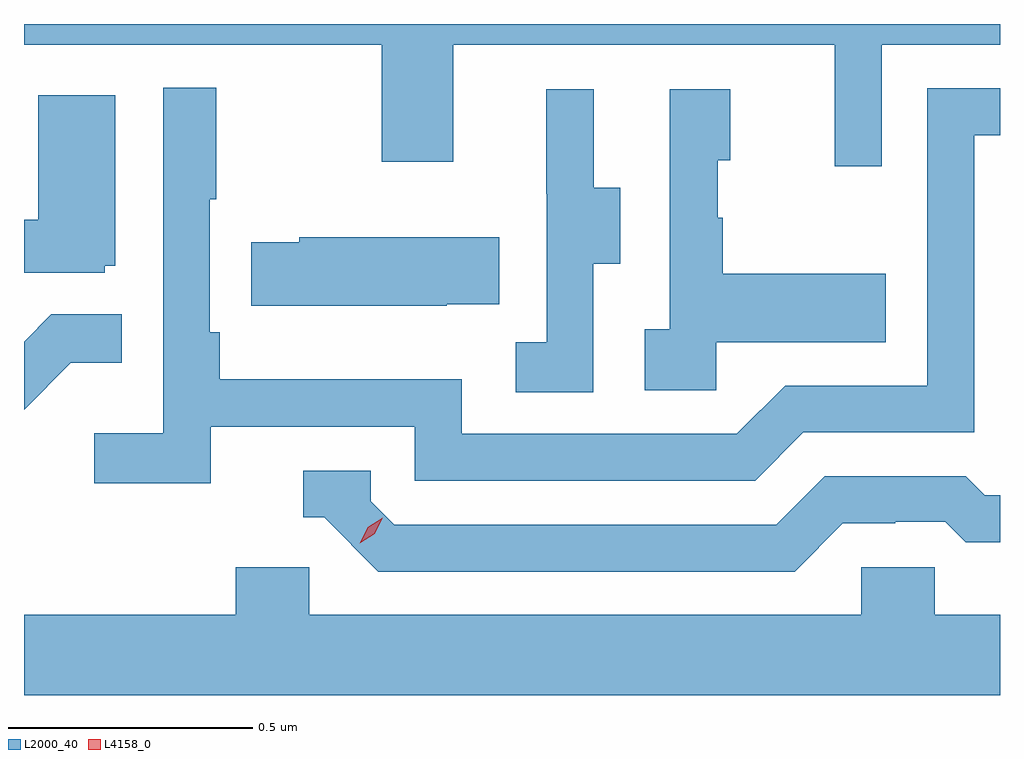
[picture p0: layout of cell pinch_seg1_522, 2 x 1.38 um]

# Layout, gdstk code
import gdstk
lib = gdstk.Library(unit=1e-6, precision=1e-09)
def P(c, l, *ps):  # polygons
    for p in ps: c.add(gdstk.Polygon(p, *l))
L2000_40 = (2000, 40)
L4158_0 = (4158, 0)

pinch_seg1_522 = lib.new_cell('pinch_seg1_522')
P(pinch_seg1_522, L2000_40, [(1116.123,534.416),(1116.365,534.416),(1116.365,534.459),(1114.365,534.459),(1114.365,534.416),(1115.098,534.416),(1115.098,534.177),(1115.245,534.177),(1115.245,534.416),(1116.026,534.416),(1116.026,534.168),(1116.123,534.168)],
  [(1114.748,533.634),(1115.166,533.634),(1115.166,533.523),(1115.863,533.523),(1115.962,533.622),(1116.312,533.622),(1116.312,534.231),(1116.365,534.231),(1116.365,534.327),(1116.216,534.327),(1116.216,533.718),(1115.925,533.718),(1115.826,533.619),(1115.262,533.619),(1115.262,533.731),(1114.766,533.731),(1114.766,533.827),(1114.746,533.827),(1114.746,534.1),(1114.759,534.1),(1114.759,534.328),(1114.65,534.328),(1114.65,533.62),(1114.509,533.62),(1114.509,533.518),(1114.748,533.518)],
  [(1115.532,533.968),(1115.587,533.968),(1115.587,534.123),(1115.533,534.123),(1115.533,534.325),(1115.435,534.325),(1115.435,534.111),(1115.436,534.111),(1115.436,533.807),(1115.373,533.807),(1115.373,533.704),(1115.532,533.704)],
  [(1115.784,533.807),(1116.131,533.807),(1116.131,533.947),(1115.797,533.947),(1115.797,534.062),(1115.787,534.062),(1115.787,534.18),(1115.812,534.18),(1115.812,534.325),(1115.688,534.325),(1115.688,533.834),(1115.637,533.834),(1115.637,533.709),(1115.784,533.709)],
  [(1114.53,533.964),(1114.552,533.964),(1114.552,534.313),(1114.394,534.313),(1114.394,534.058),(1114.365,534.058),(1114.365,533.949),(1114.53,533.949)],
  [(1115.231,533.885),(1115.339,533.885),(1115.339,534.022),(1114.929,534.022),(1114.929,534.012),(1114.831,534.012),(1114.831,533.882),(1115.231,533.882)],
  [(1114.461,533.765),(1114.565,533.765),(1114.565,533.864),(1114.421,533.864),(1114.365,533.808),(1114.365,533.669)],
  [(1116.043,533.436),(1116.15,533.436),(1116.15,533.439),(1116.253,533.439),(1116.295,533.397),(1116.365,533.397),(1116.365,533.493),(1116.334,533.493),(1116.295,533.532),(1116.006,533.532),(1115.907,533.433),(1115.124,533.433),(1115.076,533.481),(1115.076,533.544),(1114.937,533.544),(1114.937,533.448),(1114.98,533.448),(1115.091,533.337),(1115.944,533.337)],
  [(1114.799,533.346),(1114.799,533.248),(1114.365,533.248),(1114.365,533.084),(1116.365,533.084),(1116.365,533.248),(1116.231,533.248),(1116.231,533.346),(1116.081,533.346),(1116.081,533.248),(1114.95,533.248),(1114.95,533.346)])
P(pinch_seg1_522, L4158_0, [(1115.053,533.395),(1115.053,533.395),(1115.069,533.428),(1115.1,533.447),(1115.1,533.447),(1115.1,533.447),(1115.084,533.414),(1115.053,533.395)])

lib.write_gds('pinch_seg1_522.gds')
